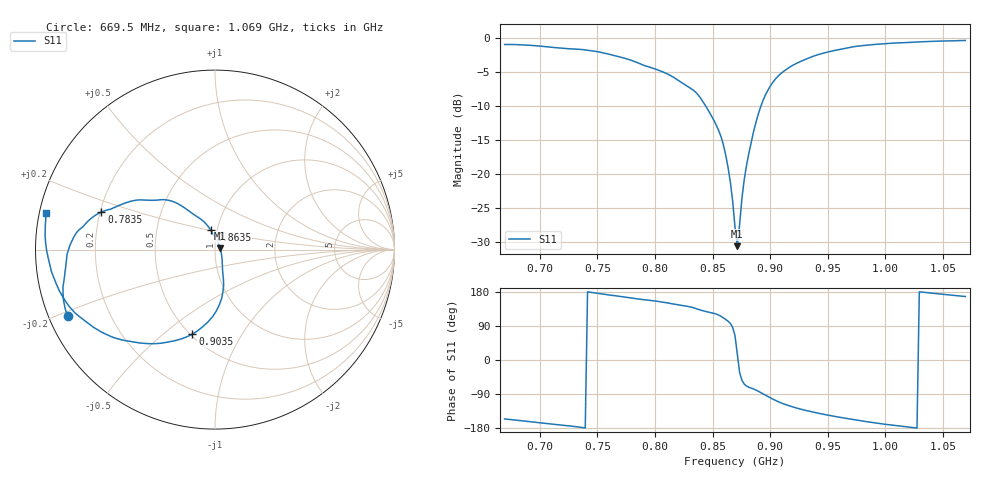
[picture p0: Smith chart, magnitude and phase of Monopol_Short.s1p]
#  HZ  S  RI  R  50.00
! Rohde & Schwarz Vector Network Analyzer
! Rohde-Schwarz,ZNB8-2Port,1311601042102944,2.30
! Created: UTC 3/16/2026, 1:08:19 PM
! freq[Hz]  re:S22  im:S22
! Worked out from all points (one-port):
!   201 points, 669.5 MHz to 1.069 GHz, reference 50 ohm
!   lowest |S11| = -30.6 dB at 871.5 MHz (marker M1), VSWR 1.06, Z = 52.9 + j0.784 ohm
!   |S11| at or under -10 dB: 844.1 MHz to 892 MHz (47.93 MHz wide, 5.52 % of centre)
!   S11 on the Smith chart (normalised r, x): 669.5 MHz: 0.06, -0.22; 783.5 MHz: 0.20, +0.15; 863.5 MHz: 0.93, +0.21; 903.5 MHz: 0.51, -0.63; 1.069 GHz: 0.02, +0.11
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6.695e8  -0.8174 -0.3716
6.915e8  -0.8462 -0.2625
7.195e8  -0.8352 -0.1183
7.455e8  -0.8067 0.0273
7.695e8  -0.7114 0.1551
7.835e8  -0.6332 0.2098
8.195e8  -0.4092 0.2768
8.355e8  -0.2861 0.2785
8.455e8  -0.1826 0.2411
8.575e8  -0.0789 0.1697
8.635e8  -0.0236 0.109
8.655e8  -0.00987 0.0863
8.675e8  0.00446 0.0626
8.695e8  0.0178 0.0365
8.715e8  0.0285 0.0074
8.735e8  0.0358 -0.0229
8.755e8  0.0394 -0.0531
8.775e8  0.0406 -0.0813
8.815e8  0.0438 -0.1347
8.855e8  0.0482 -0.1975
8.935e8  0.00718 -0.3422
9.035e8  -0.1261 -0.4712
9.195e8  -0.3498 -0.5244
9.435e8  -0.5987 -0.4755
9.695e8  -0.7812 -0.3516
9.895e8  -0.8688 -0.2273
1.0195e9  -0.9275 -0.0523
1.0695e9  -0.9393 0.2066
